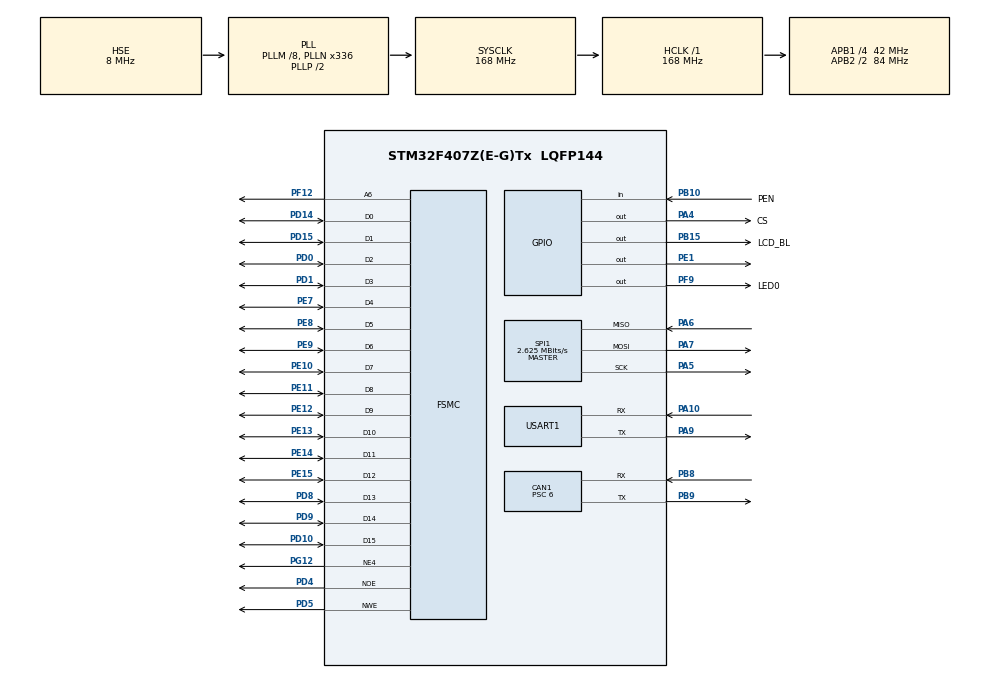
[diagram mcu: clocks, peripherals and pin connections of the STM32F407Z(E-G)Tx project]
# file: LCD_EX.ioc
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CAN1.BS1=CAN_BS1_11TQ
CAN1.BS2=CAN_BS2_2TQ
CAN1.CalculateBaudRate=500000
CAN1.CalculateTimeBit=2000
CAN1.CalculateTimeQuantum=142.85714285714286
CAN1.Prescaler=6
FREERTOS.Tasks01=defaultTask,24,128,StartDefaultTask,Default,NULL,Dynamic,NULL,NULL
FREERTOS.configTOTAL_HEAP_SIZE=32768
FSMC.BusTurnAroundDuration1=0
FSMC.DataSetupTime1=60
FSMC.ExtendedAddressSetupTime1=9
FSMC.ExtendedDataSetupTime1=8
FSMC.ExtendedMode1=FSMC_EXTENDED_MODE_ENABLE
FSMC.WriteOperation1=FSMC_WRITE_OPERATION_ENABLE
Mcu.Family=STM32F4
Mcu.Name=STM32F407Z(E-G)Tx
Mcu.Package=LQFP144
NVIC.CAN1_RX0_IRQn=true\:5\:0\:false\:false\:true\:true\:true\:true\:true
NVIC.PriorityGroup=NVIC_PRIORITYGROUP_4
NVIC.TIM6_DAC_IRQn=true\:1\:0\:true\:false\:true\:false\:false\:true\:true
NVIC.TIM7_IRQn=true\:6\:0\:true\:false\:true\:true\:true\:true\:true
NVIC.TimeBase=TIM6_DAC_IRQn
NVIC.TimeBaseIP=TIM6
PA10.Mode=Asynchronous
PA10.Signal=USART1_RX
PA13.Mode=Serial_Wire
PA13.Signal=SYS_JTMS-SWDIO
PA14.Mode=Serial_Wire
PA14.Signal=SYS_JTCK-SWCLK
PA4.GPIO_Label=CS
PA4.GPIO_PuPd=GPIO_NOPULL
PA4.GPIO_Speed=GPIO_SPEED_FREQ_HIGH
PA4.PinState=GPIO_PIN_SET
PA4.Signal=GPIO_Output
PA5.Mode=Full_Duplex_Master
PA5.Signal=SPI1_SCK
PA6.Mode=Full_Duplex_Master
PA6.Signal=SPI1_MISO
PA7.Mode=Full_Duplex_Master
PA7.Signal=SPI1_MOSI
PA9.Mode=Asynchronous
PA9.Signal=USART1_TX
PB10.GPIO_Label=PEN
PB10.GPIO_PuPd=GPIO_PULLUP
PB10.Signal=GPIO_Input
PB15.GPIO_Label=LCD_BL
PB15.Signal=GPIO_Output
PB8.Mode=CAN_Activate
PB8.Signal=CAN1_RX
PB9.Mode=CAN_Activate
PB9.Signal=CAN1_TX
PD0.Signal=FSMC_D2_DA2
PD1.Signal=FSMC_D3_DA3
PD10.Signal=FSMC_D15_DA15
PD14.Signal=FSMC_D0_DA0
PD15.Signal=FSMC_D1_DA1
PD4.Signal=FSMC_NOE
PD5.Signal=FSMC_NWE
PD8.Signal=FSMC_D13_DA13
PD9.Signal=FSMC_D14_DA14
PE1.Signal=GPIO_Output
PE10.Signal=FSMC_D7_DA7
PE11.Signal=FSMC_D8_DA8
PE12.Signal=FSMC_D9_DA9
PE13.Signal=FSMC_D10_DA10
PE14.Signal=FSMC_D11_DA11
PE15.Signal=FSMC_D12_DA12
PE7.Signal=FSMC_D4_DA4
PE8.Signal=FSMC_D5_DA5
PE9.Signal=FSMC_D6_DA6
PF12.Signal=FSMC_A6
PF9.GPIO_Label=LED0
PF9.Signal=GPIO_Output
PG12.Mode=NorPsramChipSelect4_1
PG12.Signal=FSMC_NE4
PH0-OSC_IN.Mode=HSE-External-Oscillator
PH0-OSC_IN.Signal=RCC_OSC_IN
PH1-OSC_OUT.Mode=HSE-External-Oscillator
PH1-OSC_OUT.Signal=RCC_OSC_OUT
ProjectManager.HeapSize=0x2000
ProjectManager.StackSize=0x4000
ProjectManager.TargetToolchain=CMake
RCC.48MHZClocksFreq_Value=84000000
RCC.AHBFreq_Value=168000000
RCC.APB1CLKDivider=RCC_HCLK_DIV4
RCC.APB1Freq_Value=42000000
RCC.APB1TimFreq_Value=84000000
RCC.APB2CLKDivider=RCC_HCLK_DIV2
RCC.APB2Freq_Value=84000000
RCC.APB2TimFreq_Value=168000000
RCC.CortexFreq_Value=168000000
RCC.HCLKFreq_Value=168000000
RCC.HSE_VALUE=8000000
RCC.HSI_VALUE=16000000
RCC.LSE_VALUE=32768
RCC.PLLM=8
RCC.PLLN=336
RCC.PLLSourceVirtual=RCC_PLLSOURCE_HSE
RCC.SYSCLKFreq_VALUE=168000000
RCC.SYSCLKSource=RCC_SYSCLKSOURCE_PLLCLK
RCC.VCOOutputFreq_Value=336000000
SH.FSMC_A6.0=FSMC_A6,A6_1
SH.FSMC_D0_DA0.0=FSMC_D0,16b-d1
SH.FSMC_D10_DA10.0=FSMC_D10,16b-d1
SH.FSMC_D11_DA11.0=FSMC_D11,16b-d1
SH.FSMC_D12_DA12.0=FSMC_D12,16b-d1
SH.FSMC_D13_DA13.0=FSMC_D13,16b-d1
SH.FSMC_D14_DA14.0=FSMC_D14,16b-d1
SH.FSMC_D15_DA15.0=FSMC_D15,16b-d1
SH.FSMC_D1_DA1.0=FSMC_D1,16b-d1
SH.FSMC_D2_DA2.0=FSMC_D2,16b-d1
SH.FSMC_D3_DA3.0=FSMC_D3,16b-d1
SH.FSMC_D4_DA4.0=FSMC_D4,16b-d1
SH.FSMC_D5_DA5.0=FSMC_D5,16b-d1
SH.FSMC_D6_DA6.0=FSMC_D6,16b-d1
SH.FSMC_D7_DA7.0=FSMC_D7,16b-d1
SH.FSMC_D8_DA8.0=FSMC_D8,16b-d1
SH.FSMC_D9_DA9.0=FSMC_D9,16b-d1
SH.FSMC_NOE.0=FSMC_NOE,Lcd1
SH.FSMC_NWE.0=FSMC_NWE,Lcd1
SPI1.BaudRatePrescaler=SPI_BAUDRATEPRESCALER_32
SPI1.CalculateBaudRate=2.625 MBits/s
SPI1.Direction=SPI_DIRECTION_2LINES
SPI1.Mode=SPI_MODE_MASTER
SPI1.VirtualType=VM_MASTER
TIM7.AutoReloadPreload=TIM_AUTORELOAD_PRELOAD_ENABLE
TIM7.Period=999
TIM7.Prescaler=41
USART1.VirtualMode=VM_ASYNC
VP_FREERTOS_VS_CMSIS_V2.Mode=CMSIS_V2
VP_SYS_VS_tim6.Mode=TIM6
VP_TIM7_VS_ClockSourceINT.Mode=Enable_Timer
board=custom

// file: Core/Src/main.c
/* USER CODE BEGIN Header */
/**
  ******************************************************************************
  * @file           : main.c
  * @brief          : Main program body
  ******************************************************************************
  * @attention
  *
  * Copyright (c) 2026 STMicroelectronics.
  * All rights reserved.
  *
  * This software is licensed under terms that can be found in the LICENSE file
  * in the root directory of this software component.
  * If no LICENSE file comes with this software, it is provided AS-IS.
  *
  ******************************************************************************
  */
/* USER CODE END Header */
#include "main.h"
#include "cmsis_os.h"
#include "can.h"
#include "spi.h"
#include "tim.h"
#include "usart.h"
#include "gpio.h"
#include "fsmc.h"

/* USER CODE BEGIN Includes */
#include "tftlcd.h"
#include "touch.h"
#include "retarget.h"
#include "lv_port_disp.h"
#include "lv_port_indev.h"
#include "lv_demos.h"
#include "delay.h"

/* USER CODE END Includes */

void SystemClock_Config(void);
void MX_FREERTOS_Init(void);

int main(void)
{

  /* MCU Configuration--------------------------------------------------------*/

  /* Reset of all peripherals, Initializes the Flash interface and the Systick. */
  HAL_Init();

  /* Configure the system clock */
  SystemClock_Config();

  /* Initialize all configured peripherals */
  MX_GPIO_Init();
  MX_USART1_UART_Init();
  MX_FSMC_Init();
  MX_SPI1_Init();
  MX_CAN1_Init();
  MX_TIM7_Init();
  /* USER CODE BEGIN 2 */
  HAL_TIM_Base_Start_IT(&htim7);
  delay_init();
  TFTLCD_Init();
  lv_init();
  lv_port_disp_init();

  /* USER CODE END 2 */

  /* Init scheduler */
  osKernelInitialize();  /* Call init function for freertos objects (in cmsis_os2.c) */
  MX_FREERTOS_Init();

  /* Start scheduler */
  osKernelStart();

  /* We should never get here as control is now taken by the scheduler */

  /* Infinite loop */
  while(1)
  {

  }
}

void SystemClock_Config(void)
{
  RCC_OscInitTypeDef RCC_OscInitStruct = {0};
  RCC_ClkInitTypeDef RCC_ClkInitStruct = {0};

  /** Configure the main internal regulator output voltage
  */
  __HAL_RCC_PWR_CLK_ENABLE();
  __HAL_PWR_VOLTAGESCALING_CONFIG(PWR_REGULATOR_VOLTAGE_SCALE1);

  /** Initializes the RCC Oscillators according to the specified parameters
  * in the RCC_OscInitTypeDef structure.
  */
  RCC_OscInitStruct.OscillatorType = RCC_OSCILLATORTYPE_HSE;
  RCC_OscInitStruct.HSEState = RCC_HSE_ON;
  RCC_OscInitStruct.PLL.PLLState = RCC_PLL_ON;
  RCC_OscInitStruct.PLL.PLLSource = RCC_PLLSOURCE_HSE;
  RCC_OscInitStruct.PLL.PLLM = 8;
  RCC_OscInitStruct.PLL.PLLN = 336;
  RCC_OscInitStruct.PLL.PLLP = RCC_PLLP_DIV2;
  RCC_OscInitStruct.PLL.PLLQ = 4;
  if (HAL_RCC_OscConfig(&RCC_OscInitStruct) != HAL_OK)
  {
    Error_Handler();
  }

  /** Initializes the CPU, AHB and APB buses clocks
  */
  RCC_ClkInitStruct.ClockType = RCC_CLOCKTYPE_HCLK|RCC_CLOCKTYPE_SYSCLK
                              |RCC_CLOCKTYPE_PCLK1|RCC_CLOCKTYPE_PCLK2;
  RCC_ClkInitStruct.SYSCLKSource = RCC_SYSCLKSOURCE_PLLCLK;
  RCC_ClkInitStruct.AHBCLKDivider = RCC_SYSCLK_DIV1;
  RCC_ClkInitStruct.APB1CLKDivider = RCC_HCLK_DIV4;
  RCC_ClkInitStruct.APB2CLKDivider = RCC_HCLK_DIV2;

  if (HAL_RCC_ClockConfig(&RCC_ClkInitStruct, FLASH_LATENCY_5) != HAL_OK)
  {
    Error_Handler();
  }
}

void HAL_TIM_PeriodElapsedCallback(TIM_HandleTypeDef *htim)
{
  if (htim->Instance == TIM6)
  {
    HAL_IncTick();
  }
  else if (htim->Instance == TIM7)
  {
    lv_tick_inc(1);          // LVGL 时基（1ms）← 新增
  }
}

void Error_Handler(void)
{
  __disable_irq();
  while (1)
  {
  }
}

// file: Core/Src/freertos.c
/* USER CODE BEGIN Header */
/**
  ******************************************************************************
  * File Name          : freertos.c
  * Description        : Code for freertos applications
  ******************************************************************************
  * @attention
  *
  * Copyright (c) 2026 STMicroelectronics.
  * All rights reserved.
  *
  * This software is licensed under terms that can be found in the LICENSE file
  * in the root directory of this software component.
  * If no LICENSE file comes with this software, it is provided AS-IS.
  *
  ******************************************************************************
  */
/* USER CODE END Header */

#include "FreeRTOS.h"
#include "task.h"
#include "main.h"
#include "cmsis_os.h"

/* USER CODE BEGIN Includes */
#include "lvgl.h"
#include "lv_port_disp.h"
#include "tftlcd.h"
#include "can_receiver.h"
#include"ui_dashboard.h"
/* USER CODE END Includes */

/* USER CODE BEGIN Variables */
void StartLVGLTask(void *argument);
void StartLEDTask(void *argument);
void StartCANTask(void *argument);

/* USER CODE END Variables */
/* Definitions for defaultTask */
osThreadId_t defaultTaskHandle;
const osThreadAttr_t defaultTask_attributes = {
  .name = "defaultTask",
  .stack_size = 128 * 4,
  .priority = (osPriority_t) osPriorityNormal,
};

/* USER CODE BEGIN FunctionPrototypes */
osThreadId_t lvglTaskHandle;
const osThreadAttr_t lvglTask_attributes = {
        .name = "lvglTask",
        .stack_size = 1024 * 4,  // 4KB 栈
        .priority = (osPriority_t) osPriorityNormal,
};
osThreadId_t ledTaskHandle;
const osThreadAttr_t ledTask_attributes = {
        .name = "ledTask",
        .stack_size = 256 * 4,
        .priority = (osPriority_t) osPriorityLow,
};
osThreadId_t canTaskHandle;
const osThreadAttr_t canTask_attributes = {
        .name = "canTask",
        .stack_size = 128 * 4,
        .priority = (osPriority_t) osPriorityBelowNormal,  // 优先级高于 LVGL
};
/* USER CODE END FunctionPrototypes */

void StartDefaultTask(void *argument);

void MX_FREERTOS_Init(void); /* (MISRA C 2004 rule 8.1) */

void MX_FREERTOS_Init(void) {

  /* Create the thread(s) */
  /* creation of defaultTask */
  defaultTaskHandle = osThreadNew(StartDefaultTask, NULL, &defaultTask_attributes);

  /* USER CODE BEGIN RTOS_THREADS */
  /* add threads, ... */
  /* 创建任务 */
  lvglTaskHandle = osThreadNew(StartLVGLTask, NULL, &lvglTask_attributes);  // 新增
  ledTaskHandle = osThreadNew(StartLEDTask, NULL, &ledTask_attributes);      // 新增
  canTaskHandle = osThreadNew(StartCANTask, NULL, &canTask_attributes);
  /* USER CODE END RTOS_THREADS */

}

void StartDefaultTask(void *argument)
{
  for(;;)
  {
    osDelay(1);
  }
}

/* USER CODE BEGIN Application */
/* LVGL 任务 */
void StartLVGLTask(void *argument)
{
  ui_landscape_init();  // 初始化横屏仪表盘

  for(;;)
  {
    if(g_vehicle_data.data_ready)
    {
      ui_set_zuansu(g_vehicle_data.rpm);
      ui_set_speed(g_vehicle_data.speed);
      ui_set_tmp(g_vehicle_data.coolant_temp);
      ui_set_elc(75);
      g_vehicle_data.data_ready = 0;
    }

    static uint32_t last_flash = 0;
    if(lv_tick_get() - last_flash > 500) {
      ui_anquandai();
      last_flash = lv_tick_get();
    }

    lv_timer_handler();
    osDelay(20);
  }
}

/* LED 任务 */
void StartLEDTask(void *argument)
{
  for(;;)
  {
    HAL_GPIO_TogglePin(LED0_GPIO_Port, LED0_Pin);
    osDelay(500);
  }
}
void StartCANTask(void *argument)
{
  static uint16_t rpm = 0;

  for(;;)
  {
    rpm += 100;
    if(rpm > 8000) rpm = 0;

    g_vehicle_data.rpm = rpm;
    g_vehicle_data.speed = rpm / 33;
    if(g_vehicle_data.speed > 240) g_vehicle_data.speed = 240;
    g_vehicle_data.coolant_temp = 85;
    g_vehicle_data.data_ready = 1;

    osDelay(100);  // 100ms 更新一次
  }
}
/* USER CODE END Application */
